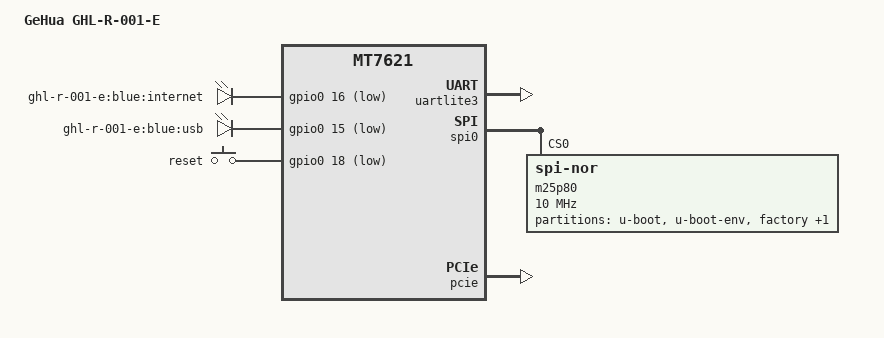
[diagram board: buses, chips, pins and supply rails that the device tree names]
// SPDX-License-Identifier: GPL-2.0-or-later OR MIT
/dts-v1/;

#include "mt7621.dtsi"

#include <dt-bindings/gpio/gpio.h>
#include <dt-bindings/input/input.h>

/ {
	model = "GeHua GHL-R-001-E";

	chosen {
		bootargs = "console=ttyS0,57600";
	};

	leds {
		compatible = "gpio-leds";

		internet {
			label = "ghl-r-001-e:blue:internet";
			gpios = <&gpio0 16 GPIO_ACTIVE_LOW>;
		};

		usb {
			label = "ghl-r-001-e:blue:usb";
			gpios = <&gpio0 15 GPIO_ACTIVE_LOW>;
			trigger-sources = <&xhci_ehci_port1>, <&ehci_port2>;
			linux,default-trigger = "usbport";
		};
	};

	keys {
		compatible = "gpio-keys-polled";
		poll-interval = <20>;

		reset {
			label = "reset";
			gpios = <&gpio0 18 GPIO_ACTIVE_LOW>;
			linux,code = <KEY_RESTART>;
		};
	};
};

&uartlite3 {
	status = "okay";
};

&spi0 {
	status = "okay";

	m25p80@0 {
		compatible = "jedec,spi-nor";
		reg = <0>;
		spi-max-frequency = <10000000>;
		m25p,chunked-io = <32>;
		m25p,fast-read;
		broken-flash-reset;

		partitions {
			compatible = "fixed-partitions";
			#address-cells = <1>;
			#size-cells = <1>;

			partition@0 {
				label = "u-boot";
				reg = <0x0 0x30000>;
			};

			partition@30000 {
				label = "u-boot-env";
				reg = <0x30000 0x10000>;
			};

			factory: partition@40000 {
				label = "factory";
				reg = <0x40000 0x10000>;
			};

			partition@50000 {
				label = "firmware";
				reg = <0x50000 0x1fb0000>;
			};
		};
	};
};


&pcie {
	status = "okay";

		pcie0 {
			mt76@0,0 {
				reg = <0x0000 0 0 0 0>;
				device_type = "pci";
				mediatek,mtd-eeprom = <&factory 0x0000>;
				ieee80211-freq-limit = <2400000 2500000>;
			};
		};

		pcie1 {
			mt76@1,0 {
				reg = <0x0000 0 0 0 0>;
				device_type = "pci";
				mediatek,mtd-eeprom = <&factory 0x8000>;
				ieee80211-freq-limit = <5000000 6000000>;
				led {
					led-sources = <2>;
					led-active-low;
				};
			};
		};
	};

&ethernet {
	mtd-mac-address = <&factory 0xe000>;
};

&pinctrl {
	state_default: pinctrl0 {
		gpio {
			ralink,group = "jtag", "wdt";
			ralink,function = "gpio";
		};
	};
};
